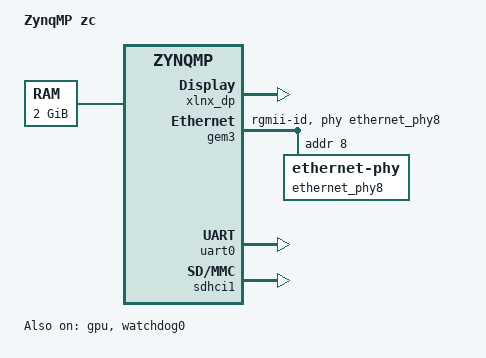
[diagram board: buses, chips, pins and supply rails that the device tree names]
/*
 * dts file for Xilinx ZynqMP UltraZed-EG IO carrier card
 * Copyright (C) 2019, Istituto Italiano di Tecnologia,
 * Electronic Design Laboratory
 * Andrea Merello <andrea.merello@gmail.com>
 *
 * Based on:
 * dts file for Xilinx ZynqMP zc1751-xm018-dc4
 * (C) Copyright 2015 - 2016, Xilinx, Inc.
 * Michal Simek <michal.simek@xilinx.com>
 *
 * SPDX-License-Identifier:	GPL-2.0+
 */

/dts-v1/;

#include "zynqmp.dtsi"
#include "zynqmp-clk-ccf.dtsi"

/ {
	model = "ZynqMP zc";
	compatible = "xlnx,zynqmp-uz-eg-iocc", "xlnx,zynqmp";

	aliases {
		ethernet0 = &gem3;
		gpio0 = &gpio;
		serial0 = &uart0;
		spi0 = &qspi;
		mmc0 = &sdhci1;
	};

	chosen {
		bootargs = "earlycon";
		stdout-path = "serial0:115200n8";
	};

	memory@0 {
		device_type = "memory";
		reg = <0x0 0x0 0x0 0x80000000>;
	};
};


/* fpd_dma clk 667MHz, lpd_dma 500MHz */
&fpd_dma_chan1 {
	status = "okay";
	xlnx,include-sg; /* for testing purpose */
	xlnx,overfetch; /* for testing purpose */
	xlnx,ratectrl = <0>; /* for testing purpose */
	xlnx,src-issue = <31>;
};

&fpd_dma_chan2 {
	status = "okay";
	xlnx,ratectrl = <100>; /* for testing purpose */
	xlnx,src-issue = <4>; /* for testing purpose */
};

&fpd_dma_chan3 {
	status = "okay";
};

&fpd_dma_chan4 {
	status = "okay";
	xlnx,include-sg; /* for testing purpose */
};

&fpd_dma_chan5 {
	status = "okay";
};

&fpd_dma_chan6 {
	status = "okay";
	xlnx,include-sg; /* for testing purpose */
};

&fpd_dma_chan7 {
	status = "okay";
};

&fpd_dma_chan8 {
	status = "okay";
	xlnx,include-sg; /* for testing purpose */
};

&lpd_dma_chan1 {
	status = "okay";
};

&lpd_dma_chan2 {
	status = "okay";
};

&lpd_dma_chan3 {
	status = "okay";
};

&lpd_dma_chan4 {
	status = "okay";
};

&lpd_dma_chan5 {
	status = "okay";
};

&lpd_dma_chan6 {
	status = "okay";
};

&lpd_dma_chan7 {
	status = "okay";
};

&lpd_dma_chan8 {
	status = "okay";
};

&xlnx_dp {
	status = "okay";
};

&xlnx_dpdma {
	status = "okay";
};

&gem3 {

	status = "okay";
	phy-mode = "rgmii-id";
	phy-handle = <&ethernet_phy8>;
	ethernet_phy8: ethernet-phy@8 { /* Vitesse VSC8211 */
		reg = <8>;
	};

};

&gpio {
	status = "okay";
};

&gpu {
	status = "okay";
};


&uart0 {
	status = "okay";
};


&watchdog0 {
	status = "okay";
};

&sdhci1 {
	status = "okay";
	broken-mmc-highspeed;
	max-frequency = <50000000>;
};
